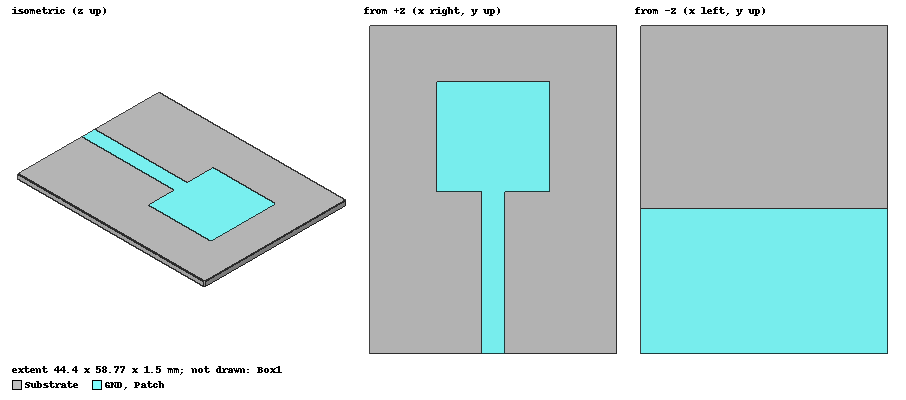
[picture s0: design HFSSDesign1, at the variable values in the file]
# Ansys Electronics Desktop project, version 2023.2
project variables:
  $f = 2.45GHz
  $epsilon_r = 2.2
  $h = 1.5mm
  $Wp = 20.4mm
  $Lp = 19.7125mm
  $Wg = $Wp + 16*$h
  $Lg = $Lp + $Lf + $z
  $Wf = 4.1mm
  $g = 1e-05mm
  $d = 4mm
  $Lf = 29.0625mm  # optimise 10mm..30mm
  $z = 10mm
  $x_centro_afuera = 3.723176555mm
  $x_centro_interior = $x_centro_afuera-$r_chica
  $Factor_gap = 0.08
  $C_centro_afuera = 5.07mm
  $C_centro_interior = $C_centro_afuera-$r_grande
  $ras = 1.05
  $r_grande = 0.435mm
  $r_chica = 0.87023644mm
  $dist_feed = ((3.0e8)/(sqrt($epsilon_r)))/($f*15)
  $CC = ($C_centro_afuera)*$ras + $dist_feed
  $larguito = 26.006944mm  # optimise 10mm..30mm
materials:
  vacuum: permittivity=1
  Rogers RO3003 (tm): permittivity=3 dielectric_loss_tangent=0.0013
  Rogers RT/duroid 5880 (tm): permittivity=2.2 dielectric_loss_tangent=0.0009
  air: permittivity=1.0006 permeability=1.0000004

design HFSSDesign1 (HFSS, HFSS Terminal Network, model units mm)
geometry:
  GND = rectangle(corner=(-$Wg/2, -$Lg/2, 0mm), x_size=$Wg, y_size=$larguito)
  Substrate [Rogers RT/duroid 5880 (tm)] = box(corner=(-$Wg/2, -$Lg/2, 0mm), size=($Wg, $Lg, $h))
  Patch = rectangle(corner=(-$Wp/2, -$Lg/2 +$Lf, $h), x_size=$Wp, y_size=$Lp)
  Feed = rectangle(corner=(-$Wf/2, -$Lg/2, $h), x_size=$Wf, y_size=$d + $Lf)
  Port = rectangle(corner=(-$Wf/2, -$Lg/2, 0mm), z_size=$h, x_size=$Wf)
  Patch.unite(Feed)
  Box1 [air] = box(corner=(-150mm, -150mm, -150mm), size=(300mm, 300mm, 300mm))
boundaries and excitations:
  PerfE1: Perfect E Objects=Patch
  PerfE2: Perfect E Objects=GND
  Rad1: Radiation Objects=Box1
  1: Lumped Port Objects=Port LumpedPortType=Modal Modes{Mode1{IntLine{(0, -29.3875, 0) -> (0, -29.3875, 1.5)} CharImp=Zpi RenormImp=50ohm}} Impedance=50ohm
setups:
  Setup1: HfssDriven Frequency=2.45GHz MaxDeltaS=0.02 MaximumPasses=20 MinimumPasses=1 MinimumConvergedPasses=1 PercentRefinement=30 BasisOrder=1 PortAccuracy=2 DrivenSolverType="Direct Solver"
    sweep Sweep: 2GHz to 7GHz step 0.01GHz; Type=Fast SaveFields
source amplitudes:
  1:1: 1V 0deg
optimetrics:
  ParametricSetup1: Parametric disabled Sim._Setups=[Setup1]
    sweep $g: LIN 2mm 4mm 0.5mm
    sweep $Lf: LIN 10mm 20mm 1mm
    sweep $d: LIN 4mm 6.3mm 0.5mm
  OptimizationSetup1: Optimization disabled Optimizer="kDX ASO" AnalysisStopOptions{StopForNumIteration MaxNumIteration=48 MinNumIteration=10} CostFuncNormType=L2 Acceptable_Cost=0 Noise=0.0001 UpdateDesignWhenDone
    goal dB(St(1,1)) Minimize 0 weight 1 on Setup1 : Sweep at Freq 2.45GHz
  ParametricSetup2: Parametric disabled Sim._Setups=[Setup1]
    sweep $r_grande: LIN 0.335mm 1.005mm 0.1mm
    sweep $r_chica: LIN 0.47023644mm 1.41070932mm 0.1mm
    sweep $x_centro_afuera: LIN 1.723176555mm 5.169529665mm 0.5mm
  OptimizationSetup2: Optimization disabled Optimizer="kDX ASO" AnalysisStopOptions{StopForNumIteration MaxNumIteration=48 MinNumIteration=10} CostFuncNormType=L2 Acceptable_Cost=0 Noise=0.0001 UpdateDesignWhenDone
    vary $Lf: Min=5mm Max=40mm MinStep=0.2mm MaxStep=2mm MinFocus=10mm MaxFocus=30mm start=20mm
    vary $larguito: Min=5mm Max=70mm MinStep=0.2mm MaxStep=2mm MinFocus=10mm MaxFocus=30mm start=20mm
    goal dB(St(1,1)) Minimize 0 weight 1 on Setup1 : Sweep at Freq 2.45GHz
  ParametricSetup3: Parametric disabled Sim._Setups=[Setup1]
    sweep $Lf: LIN 10mm 30mm 1mm
    sweep $larguito: LIN 10mm 30mm 1mm
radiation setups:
  Infinite Sphere1: Infinite Sphere Theta=0deg..180deg step 2deg Phi=-180deg..180deg step 2deg
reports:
  Terminal S Parameter Plot 1: dB(St(1,1)) vs Freq on Setup1 : Sweep
  Terminal S Parameter Plot 2: dB(St(1,1)) vs Freq on Setup1 : Sweep
  Terminal S Parameter Plot 3: dB(St(1,1)) vs Freq on Setup1 : Sweep
  Terminal S Parameter Plot 4: dB(St(1,1)) vs Freq on Setup1 : Sweep
  Terminal S Parameter Plot 5: dB(St(1,1)) vs Freq on Setup1 : Sweep
  Terminal S Parameter Plot 6: dB(St(1,1)) vs Freq on Setup1 : Sweep
  Gain Plot 1: dB(GainTotal) vs Phi, Theta on Setup1 : LastAdaptive, Infinite Sphere1 [Freq=2.45GHz]
  Terminal S Parameter Plot 7: dB(St(1,1)) vs Freq on Setup1 : Sweep
  Terminal S Parameter Plot 8: dB(St(1,1)) vs Freq on Setup1 : Sweep
  Terminal S Parameter Plot 9: dB(St(1,1)) vs Freq on Setup1 : Sweep
  Terminal S Parameter Plot 10: dB(St(1,1)) vs Freq on Setup1 : Sweep [$Lf=all $larguito=all]
  Terminal S Parameter Plot 11: dB(St(1,1)) vs Freq on Setup1 : Sweep [$Lf=all $larguito=all]
  Terminal S Parameter Plot 12: dB(St(1,1)) vs Freq on Setup1 : Sweep [$Lf=all $larguito=all]
  Terminal S Parameter Plot 13: dB(St(1,1)) vs Freq on Setup1 : Sweep [$Wp=all $Lf=all $larguito=all]
  Terminal S Parameter Plot 14: dB(St(1,1)) vs Freq on Setup1 : Sweep [$Wp=all $Lp=all $Lf=all $larguito=all]
  Terminal S Parameter Plot 15: dB(St(1,1)) vs Freq on Setup1 : Sweep [$Lf=all $larguito=all]
